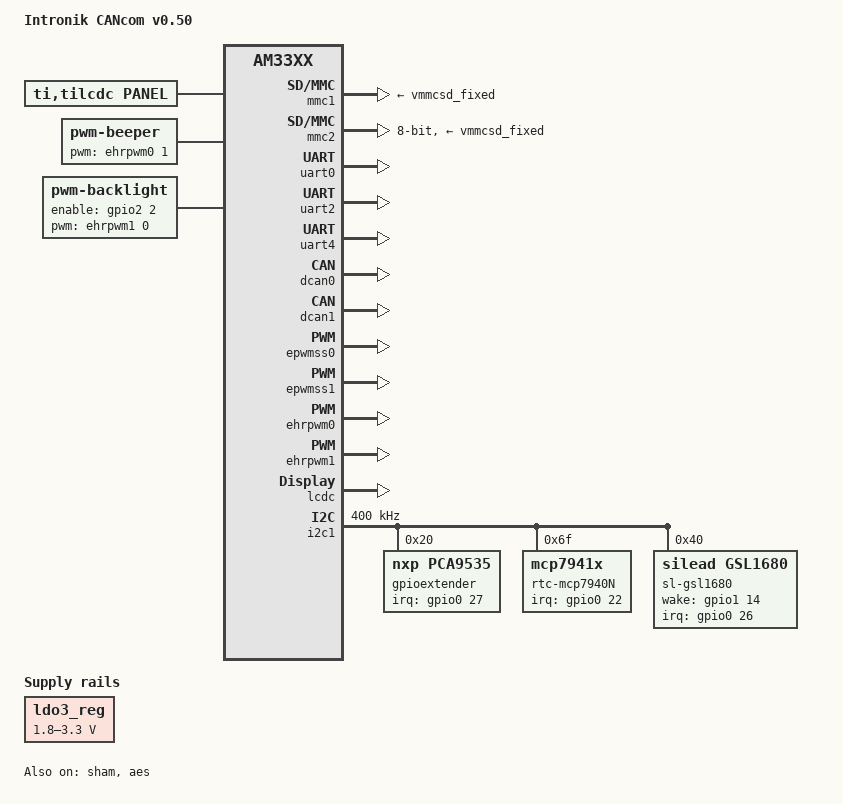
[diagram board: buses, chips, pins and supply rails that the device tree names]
/*
 * Copyright (C) 2015 Intronik GmbH
 *
 * Hardware specification for Intronik CANcom module.
 * V0.5 - 2015-08-06
 */
/dts-v1/;

#include "am33xx.dtsi"
#include "am335x-bone-common.dtsi"
#include "am335x-bone-common-universal.dtsi"
#include <dt-bindings/interrupt-controller/irq.h>
#include <dt-bindings/input/input.h>

/ {
	model = "Intronik CANcom v0.50";
	compatible = "ti,am335x-bone", "ti,am33xx";
};

&ldo3_reg {
	regulator-min-microvolt = <1800000>;
	regulator-max-microvolt = <3300000>;
	regulator-always-on;
};

&am33xx_pinmux {
	bbcape_lcd_pins: bbcape_lcd_pins {
		pinctrl-single,pins = <
			0xa0 (PIN_OUTPUT | MUX_MODE0)	/* lcd_data0.lcd_data0 */
			0xa4 (PIN_OUTPUT | MUX_MODE0)	/* lcd_data1.lcd_data1 */
			0xa8 (PIN_OUTPUT | MUX_MODE0)	/* lcd_data2.lcd_data2 */
			0xac (PIN_OUTPUT | MUX_MODE0)	/* lcd_data3.lcd_data3 */
			0xb0 (PIN_OUTPUT | MUX_MODE0)	/* lcd_data4.lcd_data4 */
			0xb4 (PIN_OUTPUT | MUX_MODE0)	/* lcd_data5.lcd_data5 */
			0xb8 (PIN_OUTPUT | MUX_MODE0)	/* lcd_data6.lcd_data6 */
			0xbc (PIN_OUTPUT | MUX_MODE0)	/* lcd_data7.lcd_data7 */
			0xc0 (PIN_OUTPUT | MUX_MODE0)	/* lcd_data8.lcd_data8 */
			0xc4 (PIN_OUTPUT | MUX_MODE0)	/* lcd_data9.lcd_data9 */
			0xc8 (PIN_OUTPUT | MUX_MODE0)	/* lcd_data10.lcd_data10 */
			0xcc (PIN_OUTPUT | MUX_MODE0)	/* lcd_data11.lcd_data11 */
			0xd0 (PIN_OUTPUT | MUX_MODE0)	/* lcd_data12.lcd_data12 */
			0xd4 (PIN_OUTPUT | MUX_MODE0)	/* lcd_data13.lcd_data13 */
			0xd8 (PIN_OUTPUT | MUX_MODE0)	/* lcd_data14.lcd_data14 */
			0xdc (PIN_OUTPUT | MUX_MODE0)	/* lcd_data15.lcd_data15 */
			0xe0 (PIN_OUTPUT | MUX_MODE0)	/* lcd_vsync.lcd_vsync */
			0xe4 (PIN_OUTPUT | MUX_MODE0)	/* lcd_hsync.lcd_hsync */
			0xe8 (PIN_OUTPUT | MUX_MODE0)	/* lcd_pclk.lcd_pclk */
			0xec (PIN_OUTPUT | MUX_MODE0)	/* lcd_ac_bias_en.lcd_ac_bias_en (lcd_en) */
		>;
	};
};

&ocp {	
	cape-universal { status = "disabled"; }; // disable all gpio-of-helpers

	// unknown CAN0-RX, CAN1-RX IRQs???
	P9_41_pinmux { status = "disabled"; };	// clkout2
	P9_92_pinmux { status = "disabled"; };	// mmc1

	// 16Bit-LCD-Interface
	P8_27_pinmux { status = "disabled"; };
	P8_28_pinmux { status = "disabled"; };
	P8_29_pinmux { status = "disabled"; };
	P8_30_pinmux { status = "disabled"; };
	P8_31_pinmux { status = "disabled"; };
	P8_32_pinmux { status = "disabled"; };
	P8_33_pinmux { status = "disabled"; };
	P8_34_pinmux { status = "disabled"; };
	P8_35_pinmux { status = "disabled"; };
	P8_36_pinmux { status = "disabled"; };
	P8_37_pinmux { status = "disabled"; };
	P8_38_pinmux { status = "disabled"; };
	P8_39_pinmux { status = "disabled"; };
	P8_40_pinmux { status = "disabled"; };
	P8_41_pinmux { status = "disabled"; };
	P8_42_pinmux { status = "disabled"; };
	P8_43_pinmux { status = "disabled"; };
	P8_44_pinmux { status = "disabled"; };
	P8_45_pinmux { status = "disabled"; };
	P8_46_pinmux { status = "disabled"; };

	P9_19_pinmux { status = "disabled"; };	// can
	P9_20_pinmux { status = "disabled"; };	// can
	P9_24_pinmux { status = "disabled"; };	// can
	P9_26_pinmux { status = "disabled"; };	// can
	P9_21_pinmux { status = "disabled"; };	// uart
	P9_22_pinmux { status = "disabled"; };	// uart
	P9_11_pinmux { status = "disabled"; };	// uart
	P9_13_pinmux { status = "disabled"; };	// uart
		
	P8_14_pinmux { status = "disabled"; };	// TOUCH IRQ
	P8_16_pinmux { status = "disabled"; };	// TOUCH WAKE
	P8_17_pinmux { status = "disabled"; };	// gpioextender IRQ
	P8_19_pinmux { status = "disabled"; };	// RTC IRQ	
	P9_17_pinmux { status = "disabled"; };	// i2c
	P9_18_pinmux { status = "disabled"; };	// i2c
	P8_07_pinmux { status = "disabled"; };  // TFT-Enable

	P9_14_pinmux { mode = "pwm"; };		// pwm backlight
	P9_29_pinmux { mode = "pwm"; };	 	// pwm beeper
};

&sham {
	status = "okay";
};

&aes {
	status = "okay";
};

&mmc1 {	// sd-card
	vmmc-supply = <&vmmcsd_fixed>;
};

&mmc2 {	// emmc
	status = "okay";
	vmmc-supply = <&vmmcsd_fixed>;
	pinctrl-names = "default";
	pinctrl-0 = <&emmc_pins>;
	bus-width = <8>;
};

&uart0 { // X5.3 (J1.4), X5.1 (J1.5)
	pinctrl-names = "default";
	pinctrl-0 = <&uart0_pins>;
	status = "okay";
};

&uart2 { // X4.3 (P9.21), X4.1 (P9.22)
	status = "okay";
	pinctrl-names = "default", "sleep";
	pinctrl-0 = <&P9_22_uart_pin &P9_21_uart_pin>;
	pinctrl-1 = <&P9_22_default_pin &P9_21_default_pin>;
}; 

&uart4 { // X1.15 (P9.11), X1.16 (P9.13)
	status = "okay";
	pinctrl-names = "default", "sleep";
	pinctrl-0 = <&P9_11_uart_pin &P9_13_uart_pin>;
	pinctrl-1 = <&P9_11_default_pin &P9_13_default_pin>;
};

&dcan0 { // X2
	 status = "okay";
	 pinctrl-names = "default", "sleep";
	 pinctrl-0 = <&P9_19_can_pin &P9_20_can_pin>;
	 pinctrl-1 = <&P9_19_default_pin &P9_20_default_pin>;
};

&dcan1 { // X3
	 status = "okay";
	 pinctrl-names = "default", "sleep";
	 pinctrl-0 = <&P9_24_can_pin &P9_26_can_pin>;
	 pinctrl-1 = <&P9_24_default_pin &P9_26_default_pin>;
};

&epwmss0 {
	status = "okay";
};

&epwmss1 {
	status = "okay";
};

&ehrpwm0 { // pwm module used beeper (EHRPWM0B)
	status = "okay";
};

&ehrpwm1 { // pwm module used backlight (EHRPWM1A)
	status = "okay";
};

&pruss {
	status = "disabled";
};

&lcdc {
	status = "okay";
};

&rtc {  // we use an external i2c rtc, so this should be disabled
	status = "disable";
};

&i2c1 {
	//status = "disabled";
	status = "okay";
	pinctrl-names = "default", "sleep";
	pinctrl-0 = <&P9_17_i2c_pin &P9_18_i2c_pin>;
	pinctrl-1 = <&P9_17_default_pin &P9_18_default_pin>;
	clock-frequency = <400000>;
		
	gpioextender: gpioextender@20 {
		reg = <0x20>;
		compatible = "nxp,pca9535";
		pinctrl-names = "default";
		pinctrl-0 = <&P8_17_gpio_pu_pin>;
		gpio-controller;
		#gpio-cells = <2>;
		interrupt-parent = <&gpio0>;
		interrupts = <27 IRQ_TYPE_EDGE_FALLING>;
		interrupt-controller;
		#interrupt-cells = <2>;
	};

        rtc-mcp7940N@6F {
		reg = <0x6f>;
		compatible = "mcp7941x";
		pinctrl-names = "default";
		pinctrl-0 = <&P8_19_gpio_pu_pin>;
		interrupt-parent = <&gpio0>;
		interrupts = <22 IRQ_TYPE_EDGE_FALLING>;
	};

	sl-gsl1680@40 {
		reg = <0x40>;
		compatible = "silead,gsl1680";
		pinctrl-names = "default";
		pinctrl-0 = <&P8_14_gpio_pd_pin &P8_16_gpio_pu_pin>;
		interrupt-parent = <&gpio0>;
		interrupts = <26 IRQ_TYPE_EDGE_RISING>;
		wake-gpio = <&gpio1 14 0>;
	};
};

&i2c2 { // required to enable CAN0
	status = "disable";
};

/ {
	cpus {
		cpu@0 {
			cpu0-supply = <&dcdc2_reg>;
			/*
			 * To consider voltage drop between PMIC and SoC,
			 * tolerance value is reduced to 2% from 4% and
			 * voltage value is increased as a precaution.
			 */
			operating-points = <
				/* kHz    uV */
				1000000	1325000
				800000	1300000
				600000	1112000
				300000	969000
			>;
		};
	};

	panel {
		status = "okay";
		compatible = "ti,tilcdc,panel";
		pinctrl-names = "default", "sleep";
		pinctrl-0 = <&bbcape_lcd_pins &P8_07_gpio_pu_pin>;
		pinctrl-1 = <&bbcape_lcd_pins &P8_07_gpio_pd_pin>;
		panel-info {
			ac-bias           = <255>;
			ac-bias-intrpt    = <0>;
			dma-burst-sz      = <16>;
			bpp               = <16>;
			fdd               = <0x80>;
			sync-edge         = <1>;
			sync-ctrl         = <1>;
			raster-order      = <0>;
			fifo-th           = <8>;
		};
		display-timings {
			native-mode = <&NHD50timing>;
			/* Settings for NEWHAVEN NHD5.0-800480TF-ATXI#-CTP */
			NHD50timing: 800x480 {
				clock-frequency = <30000000>;
				hactive = <800>;
				vactive = <480>;
				hfront-porch = <40>;
				hback-porch = <40>;
				hsync-len = <48>;
				vback-porch = <30>;
				vfront-porch = <13>;
				vsync-len = <3>;
				hsync-active = <0>;
				vsync-active = <0>;
				de-active = <1>;
				pixelclk-active = <0>;
			};
		};
	};

	beeper: beeper {
		status = "okay";
		compatible = "pwm-beeper";
		pwms = <&ehrpwm0 1 250000 0>; // EHRPWM0B 4kHz
	};

	backlight: backlight {
		compatible = "pwm-backlight";
		pwms = <&ehrpwm1 0 20000 0>; // EHRPWM1A 20000ns=50KHz
		brightness-levels = <0 55 80 105 130 155 180 205 230 255>;
		default-brightness-level = <9>;
		enable-gpios = <&gpio2 2 0>;
	};

	intronik_ios {
		compatible = "gpio-of-helper";
		status = "okay";

		IntronikOut1 {
			gpio-name = "IntronikOut1";
			gpio = <&gpioextender 0 0>;
			output;
		};
		IntronikOut2 {
			gpio-name = "IntronikOut2";
			gpio = <&gpioextender 1 0>;
			output;
		};
		IntronikOut3 {
			gpio-name = "IntronikOut3";
			gpio = <&gpioextender 2 0>;
			output;
		};
		IntronikOut4 {
			gpio-name = "IntronikOut4";
			gpio = <&gpioextender 3 0>;
			output;
		};

		IntronikIn1 {
			gpio-name = "IntronikIn1";
			gpio = <&gpioextender 4 0>;
			input;
		};
		IntronikIn2{
			gpio-name = "IntronikIn2";
			gpio = <&gpioextender 5 0>;
			input;
                };
		IntronikIn3 { 
			gpio-name = "IntronikIn3";
			gpio = <&gpioextender 6 0>;
			input;
                };
		IntronikIn4 {
			gpio-name = "IntronikIn4";
			gpio = <&gpioextender 7 0>;
			input;
                };
		IntronikIn5 {
			gpio-name = "IntronikIn5";
			gpio = <&gpioextender 8 0>;
			input;
                };
		IntronikIn6 {
			gpio-name = "IntronikIn6";
			gpio = <&gpioextender 9 0>;
			input;
                };
		IntronikIn7 {
			gpio-name = "IntronikIn7";
			gpio = <&gpioextender 10 0>;
			input;
                };
		IntronikIn8 {
			gpio-name = "IntronikIn8";
			gpio = <&gpioextender 11 0>;
			input;
                };
		IntronikIn9 {
			gpio-name = "IntronikIn9";
			gpio = <&gpioextender 12 0>;
			input;
                };
		IntronikIn10 {
			gpio-name = "IntronikIn10";
			gpio = <&gpioextender 13 0>;
			input;
		};
/*                IntronikIn11 {
                        gpio-name = "IntronikIn11";
                        gpio = <&gpioextender 14 0>;
                        input;
                };
                IntronikIn12 {
                        gpio-name = "IntronikIn12";
                        gpio = <&gpioextender 15 0>;
                        input;
                };
*/
	};

};
